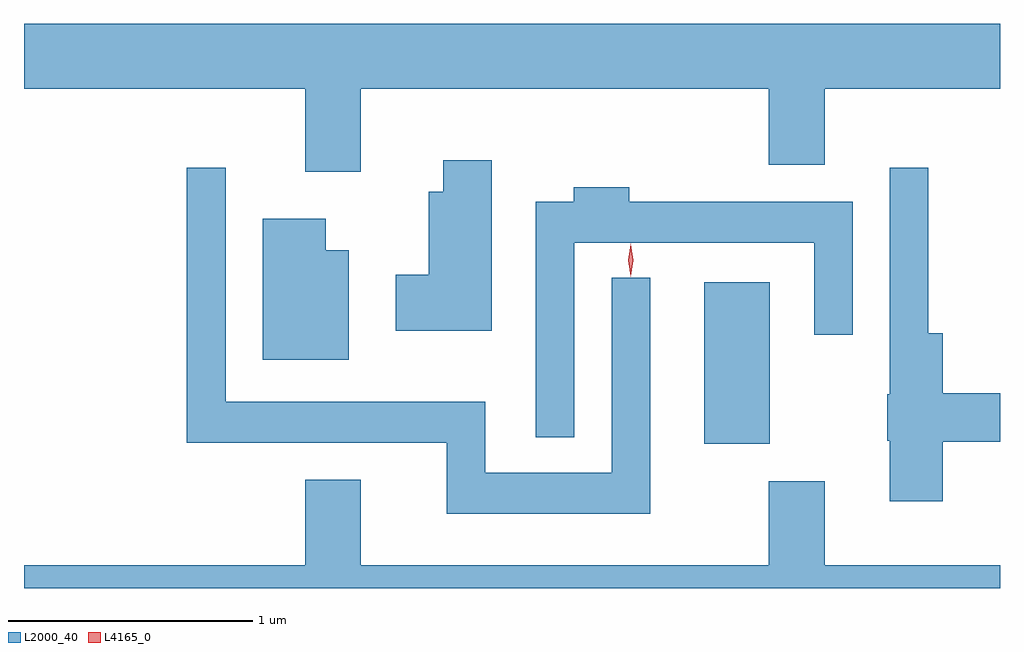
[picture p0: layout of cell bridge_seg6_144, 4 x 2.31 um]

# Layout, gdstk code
import gdstk
lib = gdstk.Library(unit=1e-6, precision=1e-09)
def R(c, l, rs):  # rectangles x0, y0, x1, y1
    for r in rs: c.add(gdstk.rectangle(r[:2], r[2:], *l))
def P(c, l, *ps):  # polygons
    for p in ps: c.add(gdstk.Polygon(p, *l))
L2000_40 = (2000, 40)
L4165_0 = (4165, 0)

bridge_seg6_144 = lib.new_cell('bridge_seg6_144')
R(bridge_seg6_144, L2000_40, [(1049.606,1599.641,1049.874,1600.304)])
P(bridge_seg6_144, L2000_40, [(1048.199,1601.096),(1049.871,1601.096),(1049.871,1600.786),(1050.099,1600.786),(1050.099,1601.096),(1050.818,1601.096),(1050.818,1601.364),(1046.818,1601.364),(1046.818,1601.096),(1047.971,1601.096),(1047.971,1600.756),(1048.199,1600.756)],
  [(1048.734,1600.804),(1048.536,1600.804),(1048.536,1600.674),(1048.476,1600.674),(1048.476,1600.334),(1048.341,1600.334),(1048.341,1600.106),(1048.734,1600.106)],
  [(1050.584,1599.651),(1050.818,1599.651),(1050.818,1599.849),(1050.584,1599.849),(1050.584,1600.094),(1050.524,1600.094),(1050.524,1600.773),(1050.366,1600.773),(1050.366,1599.845),(1050.356,1599.845),(1050.356,1599.655),(1050.366,1599.655),(1050.366,1599.406),(1050.584,1599.406)],
  [(1049.384,1600.323),(1049.226,1600.323),(1049.226,1599.524),(1048.709,1599.524),(1048.709,1599.814),(1047.644,1599.814),(1047.644,1600.773),(1047.486,1600.773),(1047.486,1599.646),(1048.551,1599.646),(1048.551,1599.356),(1049.384,1599.356)],
  [(1049.074,1600.466),(1050.056,1600.466),(1050.056,1600.088),(1050.214,1600.088),(1050.214,1600.634),(1049.299,1600.634),(1049.299,1600.694),(1049.071,1600.694),(1049.071,1600.634),(1048.916,1600.634),(1048.916,1599.668),(1049.074,1599.668)],
  [(1048.149,1600.434),(1048.054,1600.434),(1048.054,1600.564),(1047.796,1600.564),(1047.796,1599.986),(1048.149,1599.986)],
  [(1050.818,1599.144),(1050.099,1599.144),(1050.099,1599.489),(1049.871,1599.489),(1049.871,1599.144),(1048.199,1599.144),(1048.199,1599.494),(1047.971,1599.494),(1047.971,1599.144),(1046.818,1599.144),(1046.818,1599.049),(1050.818,1599.049)])
P(bridge_seg6_144, L4165_0, [(1049.305,1600.327),(1049.304,1600.328),(1049.295,1600.394),(1049.304,1600.46),(1049.305,1600.461),(1049.305,1600.46),(1049.315,1600.394),(1049.305,1600.328)])

lib.write_gds('bridge_seg6_144.gds')
